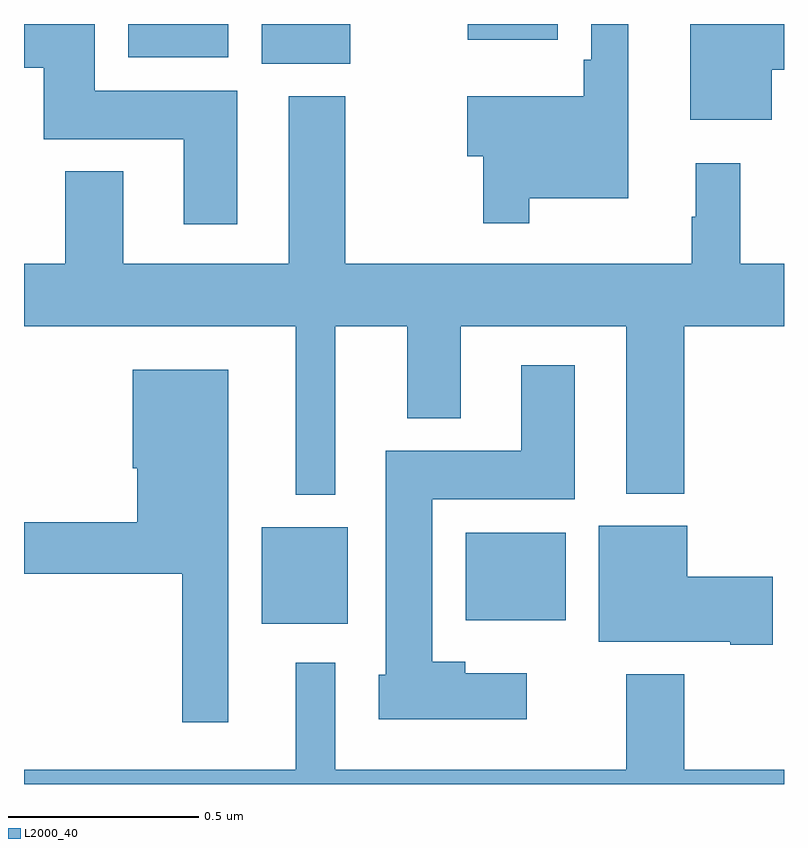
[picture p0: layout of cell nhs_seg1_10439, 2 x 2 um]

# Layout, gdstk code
import gdstk
lib = gdstk.Library(unit=1e-6, precision=1e-09)
def R(c, l, rs):  # rectangles x0, y0, x1, y1
    for r in rs: c.add(gdstk.rectangle(r[:2], r[2:], *l))
def P(c, l, *ps):  # polygons
    for p in ps: c.add(gdstk.Polygon(p, *l))
L2000_40 = (2000, 40)

nhs_seg1_10439 = lib.new_cell('nhs_seg1_10439')
R(nhs_seg1_10439, L2000_40, [(241.625,545.621,241.852,545.875), (242.162,545.63,242.425,545.86), (241.625,547.094,241.858,547.199), (241.274,547.112,241.537,547.199), (242.168,547.157,242.404,547.199)])
P(nhs_seg1_10439, L2000_40, [(241.561,547.024),(241.186,547.024),(241.186,547.199),(241,547.199),(241,547.084),(241.052,547.084),(241.052,546.896),(241.421,546.896),(241.421,546.672),(241.561,546.672)],
  [(242.968,547.079),(243,547.079),(243,547.199),(242.753,547.199),(242.753,546.947),(242.968,546.947)],
  [(242.329,546.74),(242.59,546.74),(242.59,547.199),(242.493,547.199),(242.493,547.105),(242.473,547.105),(242.473,547.009),(242.166,547.009),(242.166,546.851),(242.208,546.851),(242.208,546.675),(242.329,546.675)],
  [(241.819,546.404),(242.009,546.404),(242.009,546.161),(242.149,546.161),(242.149,546.404),(242.585,546.404),(242.585,545.963),(242.738,545.963),(242.738,546.404),(243,546.404),(243,546.568),(242.885,546.568),(242.885,546.832),(242.768,546.832),(242.768,546.692),(242.757,546.692),(242.757,546.568),(241.845,546.568),(241.845,547.009),(241.697,547.009),(241.697,546.568),(241.261,546.568),(241.261,546.811),(241.109,546.811),(241.109,546.568),(241,546.568),(241,546.404),(241.715,546.404),(241.715,545.96),(241.819,545.96)],
  [(242.323,545.491),(242.161,545.491),(242.161,545.521),(242.074,545.521),(242.074,545.948),(242.449,545.948),(242.449,546.301),(242.309,546.301),(242.309,546.076),(241.952,546.076),(241.952,545.487),(241.934,545.487),(241.934,545.369),(242.323,545.369)],
  [(241.537,546.289),(241.286,546.289),(241.286,546.03),(241.298,546.03),(241.298,545.888),(241,545.888),(241,545.752),(241.416,545.752),(241.416,545.361),(241.537,545.361)],
  [(242.971,545.744),(242.746,545.744),(242.746,545.878),(242.513,545.878),(242.513,545.573),(242.858,545.573),(242.858,545.566),(242.971,545.566)],
  [(241.715,545.518),(241.715,545.236),(241,545.236),(241,545.199),(243,545.199),(243,545.236),(242.738,545.236),(242.738,545.488),(242.585,545.488),(242.585,545.236),(241.819,545.236),(241.819,545.518)])

lib.write_gds('nhs_seg1_10439.gds')
